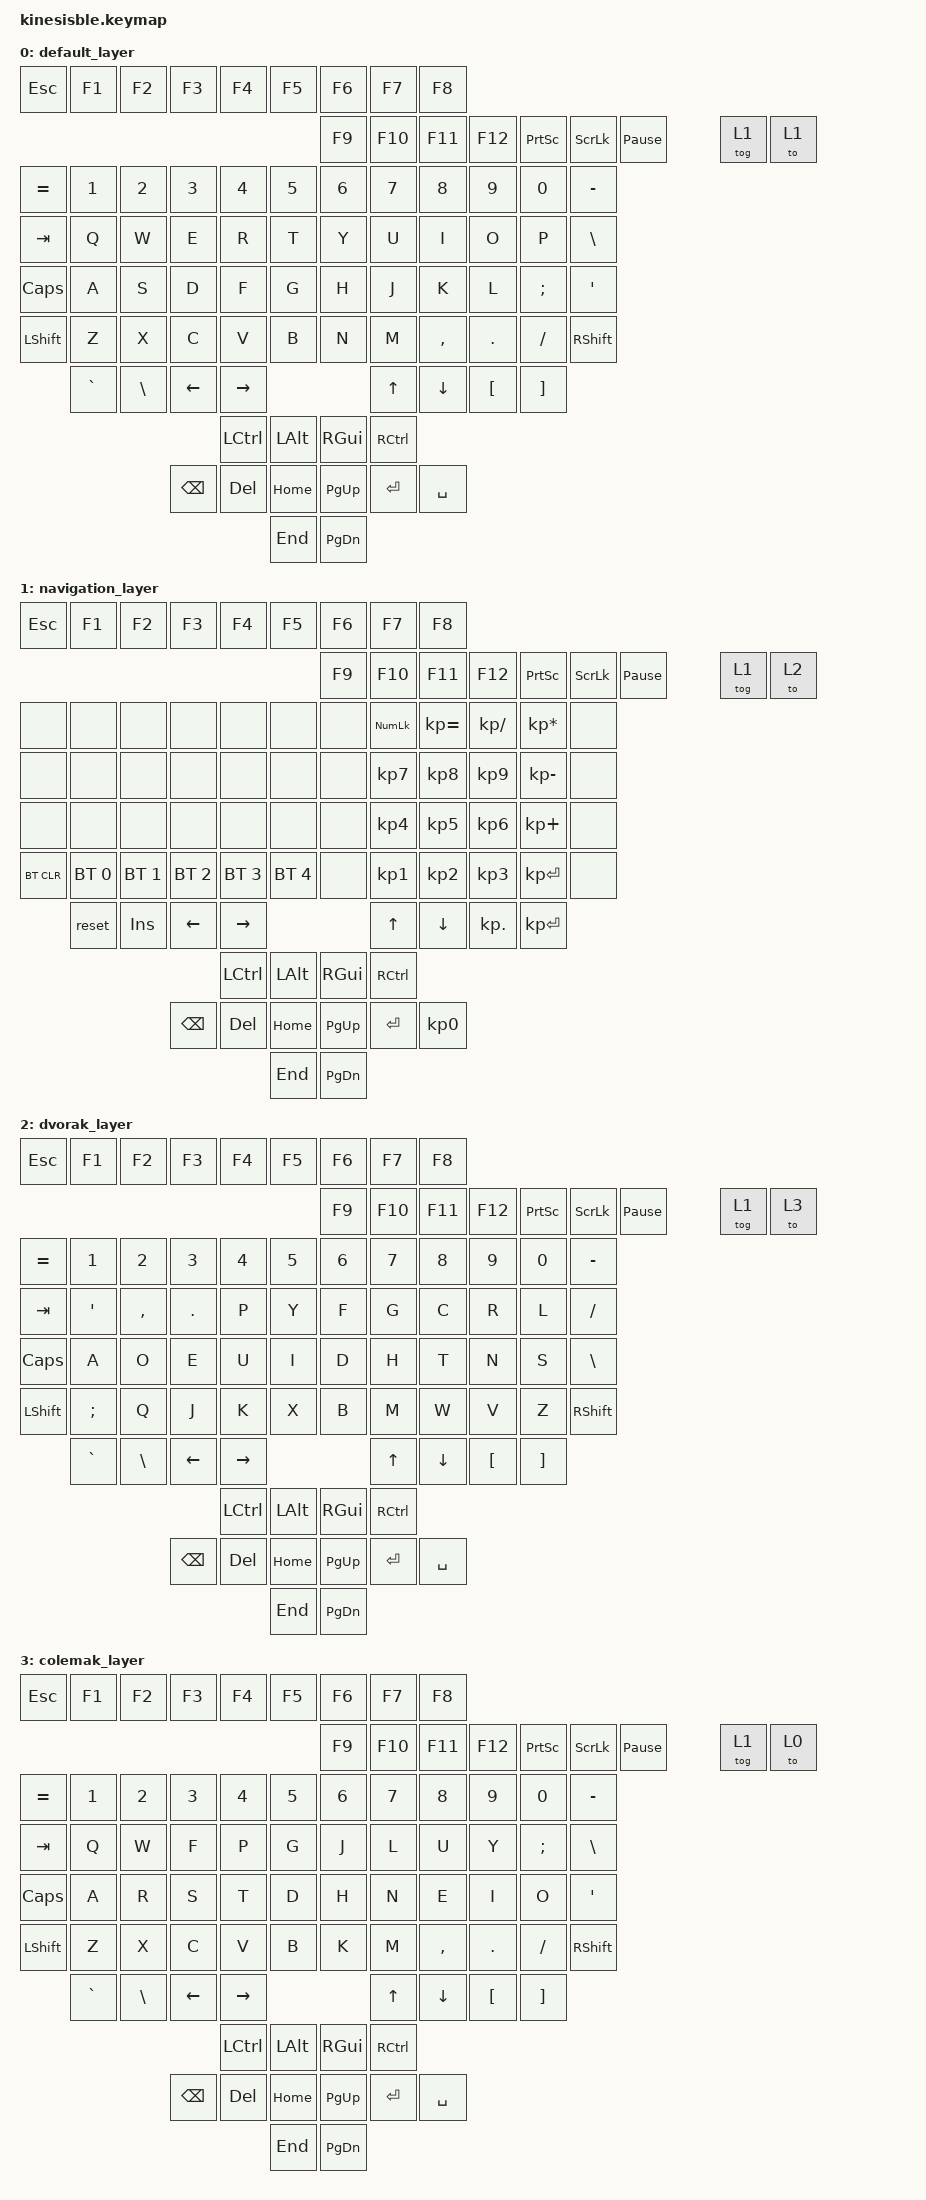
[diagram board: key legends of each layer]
/*
 * Copyright (c) 2021 The ZMK Contributors
 *
 * SPDX-License-Identifier: MIT
 */

#include <behaviors.dtsi>
#include <dt-bindings/zmk/keys.h>
#include <dt-bindings/zmk/bt.h>

/ {
    combos {
		compatible = "zmk,combos";
        // set combo <= program> to goto bootloader
		combo_boot {
			timeout-ms = <100>;
			key-positions = <17 18>;
			bindings = <&bootloader>;
		};
        // set combo <= keypad> to reset
		combo_reset {
			timeout-ms = <100>;
			key-positions = <16 18>;
			bindings = <&reset>;
		};
	};


    keymap0: keymap {
        compatible = "zmk,keymap";

    // default layer matches printing on keyboard

default_layer {
 bindings = <
  &kp ESC  &kp F1  &kp F2  &kp F3  &kp F4  &kp F5  &kp F6  &kp F7  &kp F8    
                                                                   &kp F9  &kp F10  &kp F11  &kp F12  &kp PSCRN  &kp SLCK  &kp PAUSE_BREAK  &tog 1  &to 1
  &kp EQUAL &kp N1    &kp N2   &kp N3    &kp N4    &kp N5          &kp N6   &kp N7   &kp N8    &kp N9   &kp N0   &kp MINUS                                                             
  &kp TAB   &kp Q     &kp W    &kp E     &kp R     &kp T           &kp Y    &kp U    &kp I     &kp O    &kp P    &kp BSLH                                                              
  &kp CLCK  &kp A     &kp S    &kp D     &kp F     &kp G           &kp H    &kp J    &kp K     &kp L    &kp SEMI &kp SQT                                                               
  &kp LSHFT &kp Z     &kp X    &kp C     &kp V     &kp B           &kp N    &kp M    &kp COMMA &kp DOT  &kp FSLH &kp RSHFT                                                             
            &kp GRAVE &kp BSLH &kp LEFT  &kp RIGHT                          &kp UP   &kp DOWN  &kp LBKT &kp RBKT                                                                                                  
                                         &kp LCTRL &kp LALT        &kp RGUI &kp RCTRL 
                               &kp BSPC  &kp DEL   &kp HOME        &kp PG_UP &kp ENTER &kp SPACE    
                                                   &kp END         &kp PG_DN 
 >;
};

navigation_layer {
 bindings = <
  &kp ESC  &kp F1  &kp F2  &kp F3  &kp F4  &kp F5  &kp F6  &kp F7  &kp F8    
                                                                                  &kp F9  &kp F10  &kp F11  &kp F12  &kp PSCRN  &kp SLCK  &kp PAUSE_BREAK  &tog 1  &to 2
  &none       &none        &none         &none        &none        &none          &none     &kp KP_NUM  &kp KP_EQUAL &kp KP_SLASH  &kp KP_MULTIPLY &none 
  &none       &none        &none         &none        &none        &none          &none     &kp KP_N7   &kp KP_N8    &kp KP_N9     &kp KP_MINUS    &none 
  &none       &none        &none         &none        &none        &none          &none     &kp KP_N4   &kp KP_N5    &kp KP_N6     &kp KP_PLUS     &none 
  &bt BT_CLR  &bt BT_SEL 0 &bt BT_SEL 1  &bt BT_SEL 2 &bt BT_SEL 3 &bt BT_SEL 4   &none     &kp KP_N1   &kp KP_N2    &kp KP_N3     &kp KP_ENTER    &none 
              &reset       &kp INS       &kp LEFT     &kp RIGHT                             &kp UP      &kp DOWN     &kp KP_DOT    &kp KP_ENTER                                      
                                                      &kp LCTRL    &kp LALT       &kp RGUI  &kp RCTRL 
                                         &kp BSPC     &kp DEL      &kp HOME       &kp PG_UP &kp ENTER   &kp KP_N0 
                                                                   &kp END        &kp PG_DN 
 >;
};     

dvorak_layer {
 bindings = <
  &kp ESC  &kp F1  &kp F2  &kp F3  &kp F4  &kp F5  &kp F6  &kp F7  &kp F8    
                                                                    &kp F9  &kp F10  &kp F11  &kp F12  &kp PSCRN  &kp SLCK  &kp PAUSE_BREAK  &tog 1  &to 3
  &kp EQUAL &kp N1    &kp N2    &kp N3    &kp N4    &kp N5          &kp N6    &kp N7   &kp N8    &kp N9   &kp N0   &kp MINUS                                                             
  &kp TAB   &kp SQT   &kp COMMA &kp DOT   &kp P     &kp Y           &kp F     &kp G    &kp C     &kp R    &kp L    &kp FSLH                                                              
  &kp CLCK  &kp A     &kp O     &kp E     &kp U     &kp I           &kp D     &kp H    &kp T     &kp N    &kp S    &kp BSLH                                                               
  &kp LSHFT &kp SEMI  &kp Q     &kp J     &kp K     &kp X           &kp B     &kp M    &kp W     &kp V    &kp Z    &kp RSHFT                                                             
            &kp GRAVE &kp BSLH  &kp LEFT  &kp RIGHT                           &kp UP   &kp DOWN  &kp LBKT &kp RBKT                                                                                                  
                                          &kp LCTRL &kp LALT        &kp RGUI  &kp RCTRL                
                                &kp BSPC  &kp DEL   &kp HOME        &kp PG_UP &kp ENTER &kp SPACE    
                                                    &kp END         &kp PG_DN                                   
 >;
};

colemak_layer {
 bindings = <
  &kp ESC  &kp F1  &kp F2  &kp F3  &kp F4  &kp F5  &kp F6  &kp F7  &kp F8    
                                                                   &kp F9  &kp F10  &kp F11  &kp F12  &kp PSCRN  &kp SLCK  &kp PAUSE_BREAK  &tog 1  &to 0
  &kp EQUAL &kp N1    &kp N2   &kp N3    &kp N4    &kp N5          &kp N6   &kp N7   &kp N8    &kp N9   &kp N0   &kp MINUS                                                             
  &kp TAB   &kp Q     &kp W    &kp F     &kp P     &kp G           &kp J    &kp L    &kp U     &kp Y    &kp SEMI &kp BSLH                                                              
  &kp CLCK  &kp A     &kp R    &kp S     &kp T     &kp D           &kp H    &kp N    &kp E     &kp I    &kp O    &kp SQT                                                               
  &kp LSHFT &kp Z     &kp X    &kp C     &kp V     &kp B           &kp K    &kp M    &kp COMMA &kp DOT  &kp FSLH &kp RSHFT                                                             
            &kp GRAVE &kp BSLH &kp LEFT  &kp RIGHT                          &kp UP   &kp DOWN  &kp LBKT &kp RBKT                                                                                                  
                                         &kp LCTRL &kp LALT        &kp RGUI &kp RCTRL                
                               &kp BSPC  &kp DEL   &kp HOME        &kp PG_UP &kp ENTER &kp SPACE    
                                                   &kp END         &kp PG_DN                                   
 >;
};

};
};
